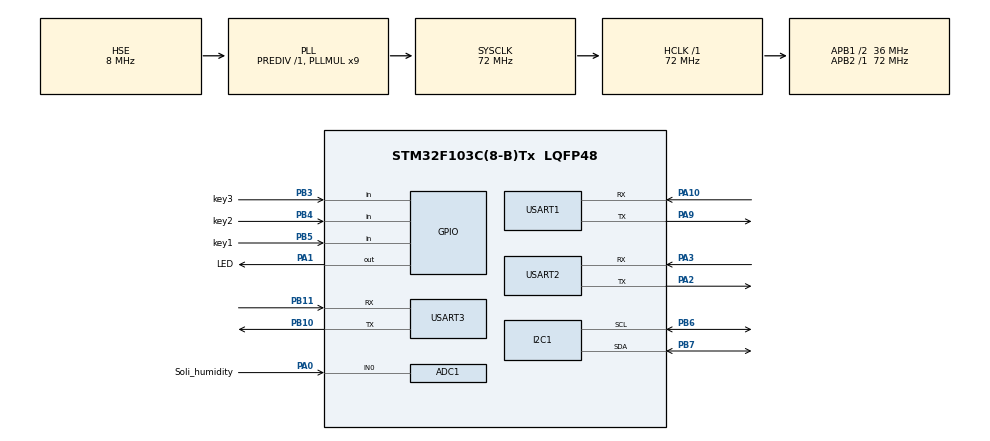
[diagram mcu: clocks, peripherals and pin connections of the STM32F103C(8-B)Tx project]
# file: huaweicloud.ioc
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ADC1.Channel-0\#ChannelRegularConversion=ADC_CHANNEL_0
ADC1.NbrOfConversionFlag=1
ADC1.Rank-0\#ChannelRegularConversion=1
ADC1.SamplingTime-0\#ChannelRegularConversion=ADC_SAMPLETIME_1CYCLE_5
ADC1.master=1
Mcu.Family=STM32F1
Mcu.Name=STM32F103C(8-B)Tx
Mcu.Package=LQFP48
NVIC.PriorityGroup=NVIC_PRIORITYGROUP_4
PA0-WKUP.GPIO_Label=Soli_humidity
PA0-WKUP.Signal=ADCx_IN0
PA1.GPIO_Label=LED
PA1.Signal=GPIO_Output
PA10.Mode=Asynchronous
PA10.Signal=USART1_RX
PA2.Mode=Asynchronous
PA2.Signal=USART2_TX
PA3.Mode=Asynchronous
PA3.Signal=USART2_RX
PA9.Mode=Asynchronous
PA9.Signal=USART1_TX
PB10.Mode=Asynchronous
PB10.Signal=USART3_TX
PB11.Mode=Asynchronous
PB11.Signal=USART3_RX
PB3.GPIO_Label=key3
PB3.GPIO_PuPd=GPIO_PULLUP
PB3.Signal=GPIO_Input
PB4.GPIO_Label=key2
PB4.GPIO_PuPd=GPIO_PULLUP
PB4.Signal=GPIO_Input
PB5.GPIO_Label=key1
PB5.GPIO_PuPd=GPIO_PULLUP
PB5.Signal=GPIO_Input
PB6.Mode=I2C
PB6.Signal=I2C1_SCL
PB7.Mode=I2C
PB7.Signal=I2C1_SDA
PD0-OSC_IN.Mode=HSE-External-Oscillator
PD0-OSC_IN.Signal=RCC_OSC_IN
PD1-OSC_OUT.Mode=HSE-External-Oscillator
PD1-OSC_OUT.Signal=RCC_OSC_OUT
ProjectManager.HeapSize=0x200
ProjectManager.StackSize=0x400
ProjectManager.TargetToolchain=MDK-ARM V5.32
RCC.ADCPresc=RCC_ADCPCLK2_DIV6
RCC.AHBFreq_Value=72000000
RCC.APB1CLKDivider=RCC_HCLK_DIV2
RCC.APB1Freq_Value=36000000
RCC.APB1TimFreq_Value=72000000
RCC.APB2Freq_Value=72000000
RCC.APB2TimFreq_Value=72000000
RCC.HCLKFreq_Value=72000000
RCC.PLLMUL=RCC_PLL_MUL9
RCC.PLLSourceVirtual=RCC_PLLSOURCE_HSE
RCC.SYSCLKFreq_VALUE=72000000
RCC.SYSCLKSource=RCC_SYSCLKSOURCE_PLLCLK
RCC.USBFreq_Value=72000000
SH.ADCx_IN0.0=ADC1_IN0,IN0
USART1.VirtualMode=VM_ASYNC
USART2.VirtualMode=VM_ASYNC
USART3.VirtualMode=VM_ASYNC
VP_SYS_VS_ND.Mode=No_Debug
board=custom

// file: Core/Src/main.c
/* USER CODE BEGIN Header */
/**
  ******************************************************************************
  * @file           : main.c
  * @brief          : Main program body
  ******************************************************************************
  */
/* USER CODE END Header */
#include "main.h"
#include "adc.h"
#include "i2c.h"
#include "usart.h"
#include "gpio.h"

/* USER CODE BEGIN Includes */
#include "ssd1306.h"
#include "sensors_i2c.h"
#include <stdio.h>
#include <string.h>
/* USER CODE END Includes */

/* USER CODE BEGIN PD */
#define THR_COUNT 5u
#define KEY_DEBOUNCE_MS 25u
#define KEY3_SHORT_MS 450u
#define KEY3_LONG_MS 650u
/* USER CODE END PD */

/* USER CODE BEGIN PV */
extern ADC_HandleTypeDef hadc1;
extern I2C_HandleTypeDef hi2c1;

static uint8_t ui_page; /* 0 info, 1 thresholds */
static uint8_t thr_idx;

static uint16_t thr_adc;
static int16_t thr_tmax_c10;
static int16_t thr_rhmin10;
static uint16_t thr_lux_min;
static uint16_t thr_pmin_hpa;

static uint8_t key3_armed;
static uint32_t key3_down_tick;

static void fmt_t10(char *buf, int16_t t10)
{
  unsigned neg = 0;
  int v = t10;
  if (v < 0)
  {
    neg = 1;
    v = -v;
  }
  sprintf(buf, "%s%d.%d", neg ? "-" : "", v / 10, v % 10);
}

static uint16_t read_adc_avg(void)
{
  uint32_t sum = 0;
  for (int i = 0; i < 8; i++)
  {
    HAL_ADC_Start(&hadc1);
    if (HAL_ADC_PollForConversion(&hadc1, 50) == HAL_OK)
      sum += (uint32_t)HAL_ADC_GetValue(&hadc1);
    HAL_ADC_Stop(&hadc1);
  }
  return (uint16_t)(sum / 8u);
}

static void thr_clamp_all(void)
{
  if (thr_adc > 4095u)
    thr_adc = 4095u;
  if (thr_tmax_c10 < -200)
    thr_tmax_c10 = -200;
  if (thr_tmax_c10 > 600)
    thr_tmax_c10 = 600;
  if (thr_rhmin10 < 0)
    thr_rhmin10 = 0;
  if (thr_rhmin10 > 1000)
    thr_rhmin10 = 1000;
  if (thr_lux_min > 60000u)
    thr_lux_min = 60000u;
  if (thr_pmin_hpa < 300u)
    thr_pmin_hpa = 300u;
  if (thr_pmin_hpa > 1100u)
    thr_pmin_hpa = 1100u;
}

static void thr_delta(int dir)
{
  switch (thr_idx)
  {
  case 0:
    if (dir > 0)
      thr_adc = (uint16_t)((thr_adc + 32u > 4095u) ? 4095u : thr_adc + 32u);
    else
      thr_adc = (thr_adc > 32u) ? (uint16_t)(thr_adc - 32u) : 0u;
    break;
  case 1:
    thr_tmax_c10 = (int16_t)(thr_tmax_c10 + dir * 5);
    break;
  case 2:
    thr_rhmin10 = (int16_t)(thr_rhmin10 + dir * 10);
    break;
  case 3:
    if (dir > 0)
      thr_lux_min = (uint16_t)((thr_lux_min + 50u > 60000u) ? 60000u : thr_lux_min + 50u);
    else
      thr_lux_min = (thr_lux_min > 50u) ? (uint16_t)(thr_lux_min - 50u) : 0u;
    break;
  case 4:
    if (dir > 0)
      thr_pmin_hpa = (uint16_t)((thr_pmin_hpa + 1u > 1100u) ? 1100u : thr_pmin_hpa + 1u);
    else
      thr_pmin_hpa = (thr_pmin_hpa > 300u) ? (uint16_t)(thr_pmin_hpa - 1u) : 300u;
    break;
  default:
    break;
  }
  thr_clamp_all();
}

static void key_poll(uint32_t now)
{
  uint8_t k3 = (HAL_GPIO_ReadPin(key3_GPIO_Port, key3_Pin) == GPIO_PIN_RESET) ? 1u : 0u;
  if (k3)
  {
    if (!key3_armed)
    {
      key3_armed = 1u;
      key3_down_tick = now;
    }
  }
  else
  {
    if (key3_armed)
    {
      uint32_t dt = now - key3_down_tick;
      if (dt >= KEY_DEBOUNCE_MS)
      {
        if (dt < KEY3_SHORT_MS)
          ui_page ^= 1u;
        else if (dt >= KEY3_LONG_MS && ui_page == 1u)
          thr_idx = (uint8_t)((thr_idx + 1u) % THR_COUNT);
      }
      key3_armed = 0u;
    }
  }

  static uint8_t k1s = 0u, k2s = 0u;
  static uint32_t lk1 = 0u, lk2 = 0u;
  uint8_t p1 = (HAL_GPIO_ReadPin(key1_GPIO_Port, key1_Pin) == GPIO_PIN_RESET) ? 1u : 0u;
  uint8_t p2 = (HAL_GPIO_ReadPin(key2_GPIO_Port, key2_Pin) == GPIO_PIN_RESET) ? 1u : 0u;

  if (p1 != k1s && (now - lk1) > KEY_DEBOUNCE_MS)
  {
    k1s = p1;
    lk1 = now;
    if (ui_page == 1u && p1)
      thr_delta(+1);
  }
  if (p2 != k2s && (now - lk2) > KEY_DEBOUNCE_MS)
  {
    k2s = p2;
    lk2 = now;
    if (ui_page == 1u && p2)
      thr_delta(-1);
  }
}

/* USER CODE END PV */

void SystemClock_Config(void);

int main(void)
{

  /* MCU Configuration--------------------------------------------------------*/

  /* Reset of all peripherals, Initializes the Flash interface and the Systick. */
  HAL_Init();

  /* Configure the system clock */
  SystemClock_Config();

  /* Initialize all configured peripherals */
  MX_GPIO_Init();
  MX_ADC1_Init();
  MX_I2C1_Init();
  MX_USART1_UART_Init();
  MX_USART2_UART_Init();
  MX_USART3_UART_Init();
  /* USER CODE BEGIN 2 */
  thr_adc = 2048u;
  thr_tmax_c10 = 350;
  thr_rhmin10 = 300;
  thr_lux_min = 50u;
  thr_pmin_hpa = 990u;

  Sensors_Init(&hi2c1);
  SSD1306_Init(&hi2c1);

  Sensor_I2C_Data_t sens;
  char line[22];

  /* USER CODE END 2 */

  /* Infinite loop */
  /* USER CODE BEGIN WHILE */
  uint32_t last_sens = 0;
  while (1)
  {
    /* USER CODE END WHILE */

    /* USER CODE BEGIN 3 */
    uint32_t now = HAL_GetTick();
    key_poll(now);

    uint16_t adc_raw = read_adc_avg();
    if (adc_raw > thr_adc)
      HAL_GPIO_WritePin(LED_GPIO_Port, LED_Pin, GPIO_PIN_SET);
    else
      HAL_GPIO_WritePin(LED_GPIO_Port, LED_Pin, GPIO_PIN_RESET);

    if ((now - last_sens) >= 400u)
    {
      last_sens = now;
      Sensors_Read(&sens);
    }

    SSD1306_Clear();
    if (ui_page == 0u)
    {
      sprintf(line, "PA0 ADC:%4u", (unsigned)adc_raw);
      SSD1306_DrawStr(0, 0, line);
      sprintf(line, "LED:%s", (adc_raw > thr_adc) ? "ON " : "OFF");
      SSD1306_DrawStr(0, 8, line);

      if (sens.sht_ok)
      {
        char tb[8];
        fmt_t10(tb, sens.sht_temp_c10);
        sprintf(line, "SHT T:%sC", tb);
        SSD1306_DrawStr(0, 16, line);
        sprintf(line, "SHT RH:%d.%d%%", sens.sht_rh10 / 10, sens.sht_rh10 % 10);
        SSD1306_DrawStr(0, 24, line);
      }
      else
      {
        SSD1306_DrawStr(0, 16, "SHT: ---");
      }

      if (sens.bmp_ok)
      {
        char tb[8];
        fmt_t10(tb, sens.bmp_temp_c10);
        sprintf(line, "BMP T:%sC", tb);
        SSD1306_DrawStr(0, 32, line);
        sprintf(line, "BMP P:%ldPa", (long)sens.bmp_press_pa);
        SSD1306_DrawStr(0, 40, line);
      }
      else
      {
        SSD1306_DrawStr(0, 32, "BMP: ---");
      }

      if (sens.bh_ok)
        sprintf(line, "BH1750:%ulu", (unsigned long)sens.bh_lux);
      else
        sprintf(line, "BH1750:---");
      SSD1306_DrawStr(0, 48, line);

      SSD1306_DrawStr(0, 56, "K3:thr L3:sel");
    }
    else
    {
      SSD1306_DrawStr(0, 0, "Thresholds");
      char tb[8];

      sprintf(line, "%sADC:%u", (thr_idx == 0u) ? ">" : " ", (unsigned)thr_adc);
      SSD1306_DrawStr(0, 8, line);
      fmt_t10(tb, thr_tmax_c10);
      sprintf(line, "%sTmax:%sC", (thr_idx == 1u) ? ">" : " ", tb);
      SSD1306_DrawStr(0, 16, line);
      sprintf(line, "%sRHmin:%d.%d%%", (thr_idx == 2u) ? ">" : " ", thr_rhmin10 / 10, thr_rhmin10 % 10);
      SSD1306_DrawStr(0, 24, line);
      sprintf(line, "%sLuxmin:%u", (thr_idx == 3u) ? ">" : " ", (unsigned)thr_lux_min);
      SSD1306_DrawStr(0, 32, line);
      sprintf(line, "%sPmin:%uhPa", (thr_idx == 4u) ? ">" : " ", (unsigned)thr_pmin_hpa);
      SSD1306_DrawStr(0, 40, line);

      SSD1306_DrawStr(0, 48, "K1+ K2-");
      SSD1306_DrawStr(0, 56, "K3:pg L3:next");
    }

    SSD1306_Refresh();
    HAL_Delay(80);
  }
  /* USER CODE END 3 */
}

void SystemClock_Config(void)
{
  RCC_OscInitTypeDef RCC_OscInitStruct = {0};
  RCC_ClkInitTypeDef RCC_ClkInitStruct = {0};
  RCC_PeriphCLKInitTypeDef PeriphClkInit = {0};

  /** Initializes the RCC Oscillators according to the specified parameters
  * in the RCC_OscInitTypeDef structure.
  */
  RCC_OscInitStruct.OscillatorType = RCC_OSCILLATORTYPE_HSE;
  RCC_OscInitStruct.HSEState = RCC_HSE_ON;
  RCC_OscInitStruct.HSEPredivValue = RCC_HSE_PREDIV_DIV1;
  RCC_OscInitStruct.HSIState = RCC_HSI_ON;
  RCC_OscInitStruct.PLL.PLLState = RCC_PLL_ON;
  RCC_OscInitStruct.PLL.PLLSource = RCC_PLLSOURCE_HSE;
  RCC_OscInitStruct.PLL.PLLMUL = RCC_PLL_MUL9;
  if (HAL_RCC_OscConfig(&RCC_OscInitStruct) != HAL_OK)
  {
    Error_Handler();
  }

  /** Initializes the CPU, AHB and APB buses clocks
  */
  RCC_ClkInitStruct.ClockType = RCC_CLOCKTYPE_HCLK | RCC_CLOCKTYPE_SYSCLK | RCC_CLOCKTYPE_PCLK1 | RCC_CLOCKTYPE_PCLK2;
  RCC_ClkInitStruct.SYSCLKSource = RCC_SYSCLKSOURCE_PLLCLK;
  RCC_ClkInitStruct.AHBCLKDivider = RCC_SYSCLK_DIV1;
  RCC_ClkInitStruct.APB1CLKDivider = RCC_HCLK_DIV2;
  RCC_ClkInitStruct.APB2CLKDivider = RCC_HCLK_DIV1;

  if (HAL_RCC_ClockConfig(&RCC_ClkInitStruct, FLASH_LATENCY_2) != HAL_OK)
  {
    Error_Handler();
  }
  PeriphClkInit.PeriphClockSelection = RCC_PERIPHCLK_ADC;
  PeriphClkInit.AdcClockSelection = RCC_ADCPCLK2_DIV6;
  if (HAL_RCCEx_PeriphCLKConfig(&PeriphClkInit) != HAL_OK)
  {
    Error_Handler();
  }
}

void Error_Handler(void)
{
  __disable_irq();
  while (1)
  {
  }
}

#ifdef USE_FULL_ASSERT
void assert_failed(uint8_t *file, uint32_t line)
{
  /* USER CODE BEGIN 6 */
  (void)file;
  (void)line;
  /* USER CODE END 6 */
}
#endif /* USE_FULL_ASSERT */
